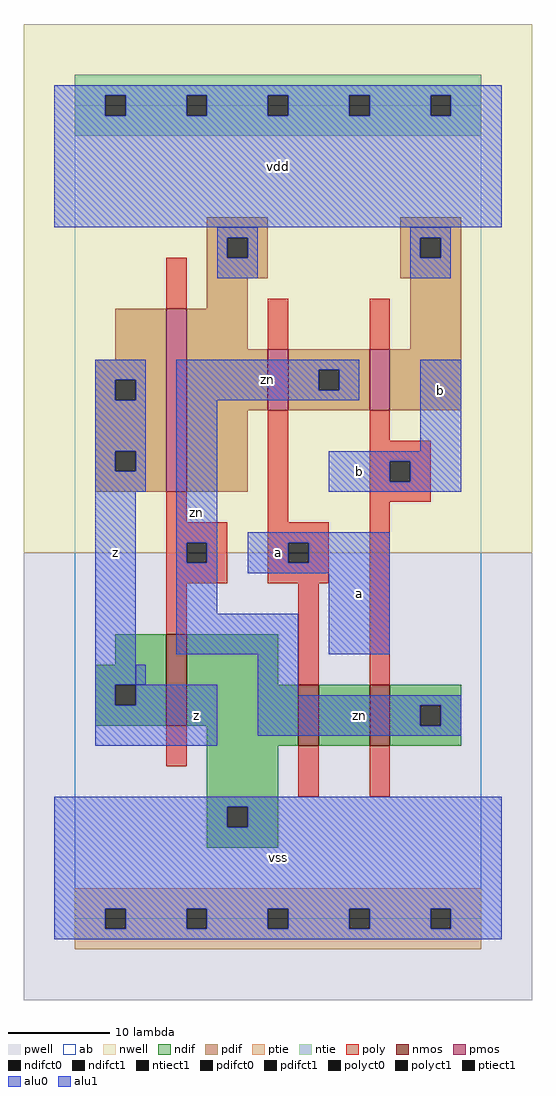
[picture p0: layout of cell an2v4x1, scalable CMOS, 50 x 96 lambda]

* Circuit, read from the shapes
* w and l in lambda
.subckt an2v4x1 a b vdd vss z zn
M1 vss zn z vss nfet w=9 l=2
M2 n1 a vss vss nfet w=6 l=2
M3 zn b n1 vss nfet w=6 l=2
M4 vdd zn z vdd pfet w=18 l=2
M5 zn a vdd vdd pfet w=6 l=2
M6 vdd b zn vdd pfet w=6 l=2
.ends

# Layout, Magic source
magic
tech scmos
<< ab >>
rect 0 0 40 80
<< nwell >>
rect -5 36 45 88
<< pwell >>
rect -5 -8 45 36
<< poly >>
rect 9 60 11 65
rect 19 56 21 61
rect 29 56 31 61
rect 9 39 11 42
rect 19 39 21 50
rect 29 47 31 50
rect 29 45 35 47
rect 29 43 31 45
rect 33 43 35 45
rect 29 41 35 43
rect 9 37 15 39
rect 9 35 11 37
rect 13 35 15 37
rect 9 33 15 35
rect 19 37 25 39
rect 19 35 21 37
rect 23 35 25 37
rect 19 33 25 35
rect 9 28 11 33
rect 22 23 24 33
rect 29 23 31 41
rect 9 15 11 19
rect 22 12 24 17
rect 29 12 31 17
<< ndif >>
rect 4 25 9 28
rect 2 23 9 25
rect 2 21 4 23
rect 6 21 9 23
rect 2 19 9 21
rect 11 23 20 28
rect 11 19 22 23
rect 13 17 22 19
rect 24 17 29 23
rect 31 21 38 23
rect 31 19 34 21
rect 36 19 38 21
rect 31 17 38 19
rect 13 11 20 17
rect 13 9 15 11
rect 17 9 20 11
rect 13 7 20 9
<< pdif >>
rect 13 67 19 69
rect 13 65 15 67
rect 17 65 19 67
rect 13 63 19 65
rect 32 67 38 69
rect 32 65 34 67
rect 36 65 38 67
rect 32 63 38 65
rect 13 60 17 63
rect 4 55 9 60
rect 2 53 9 55
rect 2 51 4 53
rect 6 51 9 53
rect 2 46 9 51
rect 2 44 4 46
rect 6 44 9 46
rect 2 42 9 44
rect 11 56 17 60
rect 33 56 38 63
rect 11 50 19 56
rect 21 54 29 56
rect 21 52 24 54
rect 26 52 29 54
rect 21 50 29 52
rect 31 50 38 56
rect 11 42 17 50
<< alu1 >>
rect -2 81 42 82
rect -2 79 3 81
rect 5 79 11 81
rect 13 79 19 81
rect 21 79 27 81
rect 29 79 35 81
rect 37 79 42 81
rect -2 68 42 79
rect 2 53 7 55
rect 2 51 4 53
rect 6 51 7 53
rect 2 46 7 51
rect 2 44 4 46
rect 6 44 7 46
rect 2 42 7 44
rect 2 23 6 42
rect 34 46 38 55
rect 25 45 38 46
rect 25 43 31 45
rect 33 43 38 45
rect 25 42 38 43
rect 17 37 31 38
rect 17 35 21 37
rect 23 35 31 37
rect 17 34 31 35
rect 25 26 31 34
rect 2 21 4 23
rect 6 21 14 23
rect 2 17 14 21
rect -2 11 42 12
rect -2 9 15 11
rect 17 9 42 11
rect -2 1 42 9
rect -2 -1 3 1
rect 5 -1 11 1
rect 13 -1 19 1
rect 21 -1 27 1
rect 29 -1 35 1
rect 37 -1 42 1
rect -2 -2 42 -1
<< ptie >>
rect 0 1 40 3
rect 0 -1 3 1
rect 5 -1 11 1
rect 13 -1 19 1
rect 21 -1 27 1
rect 29 -1 35 1
rect 37 -1 40 1
rect 0 -3 40 -1
<< ntie >>
rect 0 81 40 83
rect 0 79 3 81
rect 5 79 11 81
rect 13 79 19 81
rect 21 79 27 81
rect 29 79 35 81
rect 37 79 40 81
rect 0 77 40 79
<< nmos >>
rect 9 19 11 28
rect 22 17 24 23
rect 29 17 31 23
<< pmos >>
rect 9 42 11 60
rect 19 50 21 56
rect 29 50 31 56
<< polyct0 >>
rect 11 35 13 37
<< polyct1 >>
rect 31 43 33 45
rect 21 35 23 37
<< ndifct0 >>
rect 34 19 36 21
<< ndifct1 >>
rect 4 21 6 23
rect 15 9 17 11
<< ntiect1 >>
rect 3 79 5 81
rect 11 79 13 81
rect 19 79 21 81
rect 27 79 29 81
rect 35 79 37 81
<< ptiect1 >>
rect 3 -1 5 1
rect 11 -1 13 1
rect 19 -1 21 1
rect 27 -1 29 1
rect 35 -1 37 1
<< pdifct0 >>
rect 15 65 17 67
rect 34 65 36 67
rect 24 52 26 54
<< pdifct1 >>
rect 4 51 6 53
rect 4 44 6 46
<< alu0 >>
rect 14 67 18 68
rect 14 65 15 67
rect 17 65 18 67
rect 14 63 18 65
rect 33 67 37 68
rect 33 65 34 67
rect 36 65 37 67
rect 33 63 37 65
rect 10 54 28 55
rect 10 52 24 54
rect 26 52 28 54
rect 10 51 28 52
rect 10 37 14 51
rect 10 35 11 37
rect 13 35 14 37
rect 10 30 14 35
rect 10 26 22 30
rect 6 23 7 25
rect 18 22 22 26
rect 18 21 38 22
rect 18 19 34 21
rect 36 19 38 21
rect 18 18 38 19
<< labels >>
rlabel alu0 12 40 12 40 6 zn
rlabel alu0 19 53 19 53 6 zn
rlabel alu0 28 20 28 20 6 zn
rlabel alu1 4 36 4 36 6 z
rlabel alu1 12 20 12 20 6 z
rlabel alu1 20 6 20 6 6 vss
rlabel alu1 20 36 20 36 6 a
rlabel alu1 28 32 28 32 6 a
rlabel alu1 28 44 28 44 6 b
rlabel alu1 20 74 20 74 6 vdd
rlabel alu1 36 52 36 52 6 b
<< end >>
